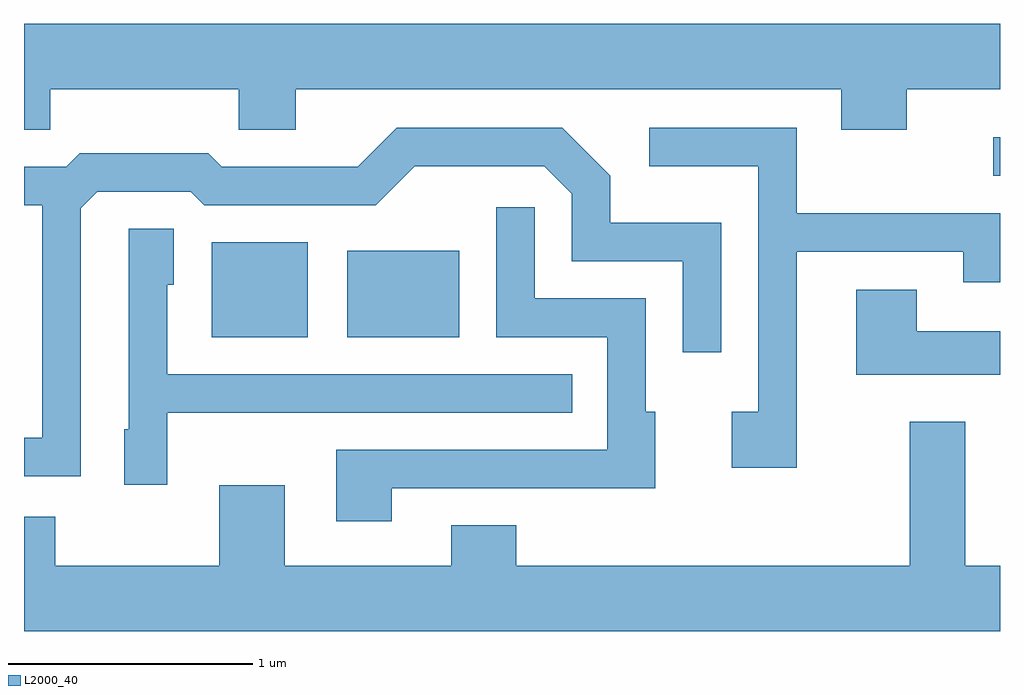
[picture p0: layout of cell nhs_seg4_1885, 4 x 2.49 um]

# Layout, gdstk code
import gdstk
lib = gdstk.Library(unit=1e-6, precision=1e-09)
def R(c, l, rs):  # rectangles x0, y0, x1, y1
    for r in rs: c.add(gdstk.rectangle(r[:2], r[2:], *l))
def P(c, l, *ps):  # polygons
    for p in ps: c.add(gdstk.Polygon(p, *l))
L2000_40 = (2000, 40)

nhs_seg4_1885 = lib.new_cell('nhs_seg4_1885')
R(nhs_seg4_1885, L2000_40, [(240.381,1353.661,240.774,1354.049), (240.936,1353.661,241.394,1354.014), (243.583,1354.321,243.611,1354.479)])
P(nhs_seg4_1885, L2000_40, [(239.611,1354.511),(239.719,1354.511),(239.719,1354.676),(240.491,1354.676),(240.491,1354.511),(240.724,1354.511),(240.724,1354.676),(242.961,1354.676),(242.961,1354.511),(243.229,1354.511),(243.229,1354.676),(243.611,1354.676),(243.611,1354.944),(239.611,1354.944)],
  [(242.779,1354.011),(243.461,1354.011),(243.461,1353.886),(243.611,1353.886),(243.611,1354.169),(242.779,1354.169),(242.779,1354.519),(242.173,1354.519),(242.173,1354.361),(242.621,1354.361),(242.621,1353.354),(242.511,1353.354),(242.511,1353.126),(242.779,1353.126)],
  [(239.844,1354.189),(239.912,1354.256),(240.294,1354.256),(240.349,1354.201),(241.052,1354.201),(241.212,1354.361),(241.744,1354.361),(241.856,1354.249),(241.856,1353.971),(242.311,1353.971),(242.311,1353.598),(242.469,1353.598),(242.469,1354.129),(242.014,1354.129),(242.014,1354.322),(241.817,1354.519),(241.139,1354.519),(240.979,1354.359),(240.422,1354.359),(240.367,1354.414),(239.839,1354.414),(239.784,1354.359),(239.611,1354.359),(239.611,1354.201),(239.686,1354.201),(239.686,1353.249),(239.611,1353.249),(239.611,1353.091),(239.844,1353.091)],
  [(241.119,1353.041),(242.199,1353.041),(242.199,1353.354),(242.159,1353.354),(242.159,1353.819),(241.704,1353.819),(241.704,1354.193),(241.546,1354.193),(241.546,1353.661),(242.001,1353.661),(242.001,1353.199),(240.891,1353.199),(240.891,1352.906),(241.119,1352.906)],
  [(240.199,1353.351),(241.858,1353.351),(241.858,1353.509),(240.199,1353.509),(240.199,1353.876),(240.224,1353.876),(240.224,1354.104),(240.041,1354.104),(240.041,1353.284),(240.021,1353.284),(240.021,1353.056),(240.199,1353.056)],
  [(243.611,1353.684),(243.269,1353.684),(243.269,1353.854),(243.021,1353.854),(243.021,1353.506),(243.611,1353.506)],
  [(243.611,1352.724),(243.469,1352.724),(243.469,1353.314),(243.241,1353.314),(243.241,1352.724),(241.629,1352.724),(241.629,1352.889),(241.361,1352.889),(241.361,1352.724),(240.679,1352.724),(240.679,1353.054),(240.411,1353.054),(240.411,1352.724),(239.739,1352.724),(239.739,1352.924),(239.611,1352.924),(239.611,1352.456),(243.611,1352.456)])

lib.write_gds('nhs_seg4_1885.gds')
